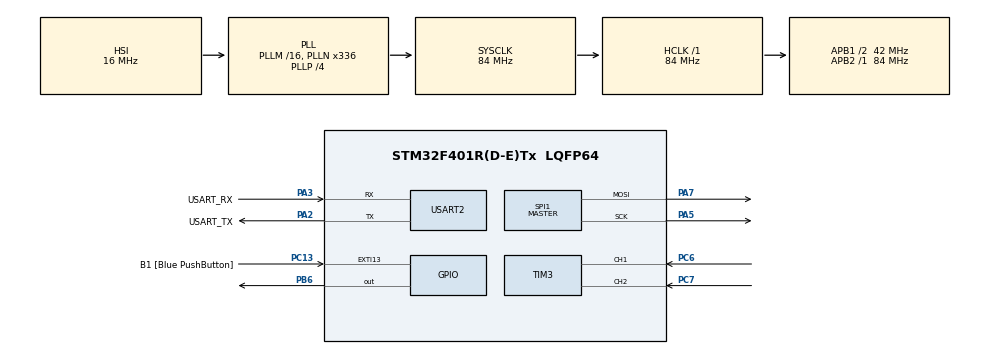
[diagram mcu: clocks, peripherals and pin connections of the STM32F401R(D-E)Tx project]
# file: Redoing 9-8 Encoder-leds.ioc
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Dma.Request0=SPI1_TX
Dma.SPI1_TX.0.Direction=DMA_MEMORY_TO_PERIPH
Dma.SPI1_TX.0.FIFOMode=DMA_FIFOMODE_DISABLE
Dma.SPI1_TX.0.Instance=DMA2_Stream3
Dma.SPI1_TX.0.MemDataAlignment=DMA_MDATAALIGN_BYTE
Dma.SPI1_TX.0.MemInc=DMA_MINC_ENABLE
Dma.SPI1_TX.0.Mode=DMA_NORMAL
Dma.SPI1_TX.0.PeriphDataAlignment=DMA_PDATAALIGN_BYTE
Dma.SPI1_TX.0.PeriphInc=DMA_PINC_DISABLE
Dma.SPI1_TX.0.Priority=DMA_PRIORITY_LOW
Mcu.Family=STM32F4
Mcu.Name=STM32F401R(D-E)Tx
Mcu.Package=LQFP64
NVIC.DMA2_Stream3_IRQn=true\:0\:0\:false\:false\:true\:false\:true\:true
NVIC.PriorityGroup=NVIC_PRIORITYGROUP_0
NVIC.SPI1_IRQn=true\:0\:0\:false\:false\:true\:true\:true\:true
NVIC.TIM1_UP_TIM10_IRQn=true\:0\:0\:false\:false\:true\:true\:true\:true
NVIC.TIM2_IRQn=true\:0\:0\:false\:false\:true\:true\:true\:true
NVIC.TIM3_IRQn=true\:0\:0\:false\:false\:true\:true\:true\:true
PA13.GPIO_Label=TMS
PA13.Mode=Serial_Wire
PA13.Signal=SYS_JTMS-SWDIO
PA14.GPIO_Label=TCK
PA14.Mode=Serial_Wire
PA14.Signal=SYS_JTCK-SWCLK
PA2.GPIO_Label=USART_TX
PA2.GPIO_Mode=GPIO_MODE_AF_PP
PA2.GPIO_PuPd=GPIO_NOPULL
PA2.GPIO_Speed=GPIO_SPEED_FREQ_LOW
PA2.Mode=Asynchronous
PA2.Signal=USART2_TX
PA3.GPIO_Label=USART_RX
PA3.GPIO_Mode=GPIO_MODE_AF_PP
PA3.GPIO_PuPd=GPIO_NOPULL
PA3.GPIO_Speed=GPIO_SPEED_FREQ_LOW
PA3.Mode=Asynchronous
PA3.Signal=USART2_RX
PA5.Mode=TX_Only_Simplex_Unidirect_Master
PA5.Signal=SPI1_SCK
PA7.Mode=TX_Only_Simplex_Unidirect_Master
PA7.Signal=SPI1_MOSI
PB3.GPIO_Label=SWO
PB3.Signal=SYS_JTDO-SWO
PB6.Signal=GPIO_Output
PC13-ANTI_TAMP.GPIO_Label=B1 [Blue PushButton]
PC13-ANTI_TAMP.GPIO_ModeDefaultEXTI=GPIO_MODE_IT_FALLING
PC13-ANTI_TAMP.GPIO_PuPd=GPIO_NOPULL
PC13-ANTI_TAMP.Signal=GPXTI13
PC14-OSC32_IN.Mode=LSE-External-Oscillator
PC14-OSC32_IN.Signal=RCC_OSC32_IN
PC15-OSC32_OUT.Mode=LSE-External-Oscillator
PC15-OSC32_OUT.Signal=RCC_OSC32_OUT
PC6.Signal=S_TIM3_CH1
PC7.Signal=S_TIM3_CH2
PH0\ -\ OSC_IN.Mode=HSE-External-Clock-Source
PH0\ -\ OSC_IN.Signal=RCC_OSC_IN
PH1\ -\ OSC_OUT.Mode=HSE-External-Clock-Source
PH1\ -\ OSC_OUT.Signal=RCC_OSC_OUT
ProjectManager.HeapSize=0x200
ProjectManager.StackSize=0x400
ProjectManager.TargetToolchain=STM32CubeIDE
RCC.48MHZClocksFreq_Value=48000000
RCC.AHBFreq_Value=84000000
RCC.APB1CLKDivider=RCC_HCLK_DIV2
RCC.APB1Freq_Value=42000000
RCC.APB1TimFreq_Value=84000000
RCC.APB2Freq_Value=84000000
RCC.APB2TimFreq_Value=84000000
RCC.CortexFreq_Value=84000000
RCC.HCLKFreq_Value=84000000
RCC.HSE_VALUE=8000000
RCC.HSI_VALUE=16000000
RCC.PLLN=336
RCC.PLLP=RCC_PLLP_DIV4
RCC.PLLQ=7
RCC.SYSCLKFreq_VALUE=84000000
RCC.SYSCLKSource=RCC_SYSCLKSOURCE_PLLCLK
RCC.VCOOutputFreq_Value=336000000
SH.S_TIM3_CH1.0=TIM3_CH1,Encoder_Interface
SH.S_TIM3_CH2.0=TIM3_CH2,Encoder_Interface
SPI1.BaudRatePrescaler=SPI_BAUDRATEPRESCALER_4
SPI1.Direction=SPI_DIRECTION_2LINES
SPI1.Mode=SPI_MODE_MASTER
SPI1.VirtualType=VM_MASTER
TIM10.Period=50-1
TIM10.Prescaler=8400-1
TIM2.Period=5000-1
TIM2.Prescaler=8400-1
TIM3.EncoderMode=TIM_ENCODERMODE_TI12
TIM3.IC1Filter=15
TIM3.IC2Filter=15
TIM3.IC2Polarity=TIM_ICPOLARITY_RISING
USART2.VirtualMode=VM_ASYNC
VP_TIM10_VS_ClockSourceINT.Mode=Enable_Timer
VP_TIM2_VS_ClockSourceINT.Mode=Internal
board=NUCLEO-F401RE

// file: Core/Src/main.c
/* USER CODE BEGIN Header */
/**
  ******************************************************************************
  * @file           : main.c
  * @brief          : Main program body
  ******************************************************************************
  * @attention
  *
  * Copyright (c) 2024 STMicroelectronics.
  * All rights reserved.
  *
  * This software is licensed under terms that can be found in the LICENSE file
  * in the root directory of this software component.
  * If no LICENSE file comes with this software, it is provided AS-IS.
  *
  ******************************************************************************
  */
/* USER CODE END Header */
#include "main.h"

/* USER CODE BEGIN Includes */
#include <math.h>
#include <stdio.h>
#include <string.h>
/* USER CODE END Includes */

/* USER CODE BEGIN PD */
char aux_str[1024];
#define PRINT(s,...) \
		snprintf(aux_str, 1020, s, ##__VA_ARGS__ ); \
		HAL_UART_Transmit(&huart2, (uint8_t*)aux_str, strlen(aux_str), 100);

/* USER CODE END PD */

SPI_HandleTypeDef hspi1;
DMA_HandleTypeDef hdma_spi1_tx;

TIM_HandleTypeDef htim2;
TIM_HandleTypeDef htim3;
TIM_HandleTypeDef htim10;

UART_HandleTypeDef huart2;

void SystemClock_Config(void);
static void MX_GPIO_Init(void);
static void MX_DMA_Init(void);
static void MX_USART2_UART_Init(void);
static void MX_TIM3_Init(void);
static void MX_SPI1_Init(void);
static void MX_TIM2_Init(void);
static void MX_TIM10_Init(void);

/* USER CODE BEGIN 0 */
uint8_t led_mat[5][2] = {
		{0,16},
		{0,8},
		{0,4},
		{0,2},
		{0,1},
};

void HAL_TIM_PeriodElapsedCallback(TIM_HandleTypeDef *htim){
	if(htim == &htim2){
		static int pos = 0;
		int16_t val = __HAL_TIM_GET_COUNTER(&htim3);
		if(val%48 == 0 && val != 0){__HAL_TIM_SET_COUNTER(&htim3,0);}
	    PRINT("Readed %.3f\r\n", (float)(val%48)/48*360.0);

	    val = val>=0? val:-val;
	    led_mat[pos][0] = pow(2, round((float)(val%48)/48*7));
	    pos = (pos + 1)%5;
	    //set current index values to the readed value scaled
	}else if(htim == &htim10){
		static int col = 0;
		HAL_SPI_Transmit_DMA(&hspi1, led_mat[col], 2);
		col = (col+1)%5;
	}
}

void HAL_SPI_TxCpltCallback (SPI_HandleTypeDef * hspi){
	HAL_GPIO_TogglePin(GPIOB, GPIO_PIN_6);
	HAL_GPIO_TogglePin(GPIOB, GPIO_PIN_6);
}

/* USER CODE END 0 */

int main(void)
{

  /* MCU Configuration--------------------------------------------------------*/

  /* Reset of all peripherals, Initializes the Flash interface and the Systick. */
  HAL_Init();

  /* Configure the system clock */
  SystemClock_Config();

  /* Initialize all configured peripherals */
  MX_GPIO_Init();
  MX_DMA_Init();
  MX_USART2_UART_Init();
  MX_TIM3_Init();
  MX_SPI1_Init();
  MX_TIM2_Init();
  MX_TIM10_Init();
  /* USER CODE BEGIN 2 */
  HAL_TIM_Encoder_Start_IT(&htim3, TIM_CHANNEL_ALL);
  HAL_TIM_Base_Start_IT(&htim2);
  HAL_TIM_Base_Start_IT(&htim10);
  /* USER CODE END 2 */

  /* Infinite loop */
  while (1){

  }
}

void SystemClock_Config(void)
{
  RCC_OscInitTypeDef RCC_OscInitStruct = {0};
  RCC_ClkInitTypeDef RCC_ClkInitStruct = {0};

  /** Configure the main internal regulator output voltage
  */
  __HAL_RCC_PWR_CLK_ENABLE();
  __HAL_PWR_VOLTAGESCALING_CONFIG(PWR_REGULATOR_VOLTAGE_SCALE2);

  /** Initializes the RCC Oscillators according to the specified parameters
  * in the RCC_OscInitTypeDef structure.
  */
  RCC_OscInitStruct.OscillatorType = RCC_OSCILLATORTYPE_HSI;
  RCC_OscInitStruct.HSIState = RCC_HSI_ON;
  RCC_OscInitStruct.HSICalibrationValue = RCC_HSICALIBRATION_DEFAULT;
  RCC_OscInitStruct.PLL.PLLState = RCC_PLL_ON;
  RCC_OscInitStruct.PLL.PLLSource = RCC_PLLSOURCE_HSI;
  RCC_OscInitStruct.PLL.PLLM = 16;
  RCC_OscInitStruct.PLL.PLLN = 336;
  RCC_OscInitStruct.PLL.PLLP = RCC_PLLP_DIV4;
  RCC_OscInitStruct.PLL.PLLQ = 7;
  if (HAL_RCC_OscConfig(&RCC_OscInitStruct) != HAL_OK)
  {
    Error_Handler();
  }

  /** Initializes the CPU, AHB and APB buses clocks
  */
  RCC_ClkInitStruct.ClockType = RCC_CLOCKTYPE_HCLK|RCC_CLOCKTYPE_SYSCLK
                              |RCC_CLOCKTYPE_PCLK1|RCC_CLOCKTYPE_PCLK2;
  RCC_ClkInitStruct.SYSCLKSource = RCC_SYSCLKSOURCE_PLLCLK;
  RCC_ClkInitStruct.AHBCLKDivider = RCC_SYSCLK_DIV1;
  RCC_ClkInitStruct.APB1CLKDivider = RCC_HCLK_DIV2;
  RCC_ClkInitStruct.APB2CLKDivider = RCC_HCLK_DIV1;

  if (HAL_RCC_ClockConfig(&RCC_ClkInitStruct, FLASH_LATENCY_2) != HAL_OK)
  {
    Error_Handler();
  }
}

static void MX_SPI1_Init(void)
{

  /* SPI1 parameter configuration*/
  hspi1.Instance = SPI1;
  hspi1.Init.Mode = SPI_MODE_MASTER;
  hspi1.Init.Direction = SPI_DIRECTION_2LINES;
  hspi1.Init.DataSize = SPI_DATASIZE_8BIT;
  hspi1.Init.CLKPolarity = SPI_POLARITY_LOW;
  hspi1.Init.CLKPhase = SPI_PHASE_1EDGE;
  hspi1.Init.NSS = SPI_NSS_SOFT;
  hspi1.Init.BaudRatePrescaler = SPI_BAUDRATEPRESCALER_4;
  hspi1.Init.FirstBit = SPI_FIRSTBIT_MSB;
  hspi1.Init.TIMode = SPI_TIMODE_DISABLE;
  hspi1.Init.CRCCalculation = SPI_CRCCALCULATION_DISABLE;
  hspi1.Init.CRCPolynomial = 10;
  if (HAL_SPI_Init(&hspi1) != HAL_OK)
  {
    Error_Handler();
  }

}

static void MX_TIM2_Init(void)
{

  TIM_ClockConfigTypeDef sClockSourceConfig = {0};
  TIM_MasterConfigTypeDef sMasterConfig = {0};

  htim2.Instance = TIM2;
  htim2.Init.Prescaler = 8400-1;
  htim2.Init.CounterMode = TIM_COUNTERMODE_UP;
  htim2.Init.Period = 5000-1;
  htim2.Init.ClockDivision = TIM_CLOCKDIVISION_DIV1;
  htim2.Init.AutoReloadPreload = TIM_AUTORELOAD_PRELOAD_DISABLE;
  if (HAL_TIM_Base_Init(&htim2) != HAL_OK)
  {
    Error_Handler();
  }
  sClockSourceConfig.ClockSource = TIM_CLOCKSOURCE_INTERNAL;
  if (HAL_TIM_ConfigClockSource(&htim2, &sClockSourceConfig) != HAL_OK)
  {
    Error_Handler();
  }
  sMasterConfig.MasterOutputTrigger = TIM_TRGO_RESET;
  sMasterConfig.MasterSlaveMode = TIM_MASTERSLAVEMODE_DISABLE;
  if (HAL_TIMEx_MasterConfigSynchronization(&htim2, &sMasterConfig) != HAL_OK)
  {
    Error_Handler();
  }

}

static void MX_TIM3_Init(void)
{

  TIM_Encoder_InitTypeDef sConfig = {0};
  TIM_MasterConfigTypeDef sMasterConfig = {0};

  htim3.Instance = TIM3;
  htim3.Init.Prescaler = 0;
  htim3.Init.CounterMode = TIM_COUNTERMODE_UP;
  htim3.Init.Period = 65535;
  htim3.Init.ClockDivision = TIM_CLOCKDIVISION_DIV1;
  htim3.Init.AutoReloadPreload = TIM_AUTORELOAD_PRELOAD_DISABLE;
  sConfig.EncoderMode = TIM_ENCODERMODE_TI12;
  sConfig.IC1Polarity = TIM_ICPOLARITY_RISING;
  sConfig.IC1Selection = TIM_ICSELECTION_DIRECTTI;
  sConfig.IC1Prescaler = TIM_ICPSC_DIV1;
  sConfig.IC1Filter = 15;
  sConfig.IC2Polarity = TIM_ICPOLARITY_RISING;
  sConfig.IC2Selection = TIM_ICSELECTION_DIRECTTI;
  sConfig.IC2Prescaler = TIM_ICPSC_DIV1;
  sConfig.IC2Filter = 15;
  if (HAL_TIM_Encoder_Init(&htim3, &sConfig) != HAL_OK)
  {
    Error_Handler();
  }
  sMasterConfig.MasterOutputTrigger = TIM_TRGO_RESET;
  sMasterConfig.MasterSlaveMode = TIM_MASTERSLAVEMODE_DISABLE;
  if (HAL_TIMEx_MasterConfigSynchronization(&htim3, &sMasterConfig) != HAL_OK)
  {
    Error_Handler();
  }

}

static void MX_TIM10_Init(void)
{

  htim10.Instance = TIM10;
  htim10.Init.Prescaler = 8400-1;
  htim10.Init.CounterMode = TIM_COUNTERMODE_UP;
  htim10.Init.Period = 50-1;
  htim10.Init.ClockDivision = TIM_CLOCKDIVISION_DIV1;
  htim10.Init.AutoReloadPreload = TIM_AUTORELOAD_PRELOAD_DISABLE;
  if (HAL_TIM_Base_Init(&htim10) != HAL_OK)
  {
    Error_Handler();
  }

}

static void MX_USART2_UART_Init(void)
{

  huart2.Instance = USART2;
  huart2.Init.BaudRate = 115200;
  huart2.Init.WordLength = UART_WORDLENGTH_8B;
  huart2.Init.StopBits = UART_STOPBITS_1;
  huart2.Init.Parity = UART_PARITY_NONE;
  huart2.Init.Mode = UART_MODE_TX_RX;
  huart2.Init.HwFlowCtl = UART_HWCONTROL_NONE;
  huart2.Init.OverSampling = UART_OVERSAMPLING_16;
  if (HAL_UART_Init(&huart2) != HAL_OK)
  {
    Error_Handler();
  }

}

static void MX_DMA_Init(void)
{

  /* DMA controller clock enable */
  __HAL_RCC_DMA2_CLK_ENABLE();

  /* DMA interrupt init */
  /* DMA2_Stream3_IRQn interrupt configuration */
  HAL_NVIC_SetPriority(DMA2_Stream3_IRQn, 0, 0);
  HAL_NVIC_EnableIRQ(DMA2_Stream3_IRQn);

}

static void MX_GPIO_Init(void)
{
  GPIO_InitTypeDef GPIO_InitStruct = {0};

  /* GPIO Ports Clock Enable */
  __HAL_RCC_GPIOC_CLK_ENABLE();
  __HAL_RCC_GPIOH_CLK_ENABLE();
  __HAL_RCC_GPIOA_CLK_ENABLE();
  __HAL_RCC_GPIOB_CLK_ENABLE();

  /*Configure GPIO pin Output Level */
  HAL_GPIO_WritePin(GPIOB, GPIO_PIN_6, GPIO_PIN_RESET);

  /*Configure GPIO pin : B1_Pin */
  GPIO_InitStruct.Pin = B1_Pin;
  GPIO_InitStruct.Mode = GPIO_MODE_IT_FALLING;
  GPIO_InitStruct.Pull = GPIO_NOPULL;
  HAL_GPIO_Init(B1_GPIO_Port, &GPIO_InitStruct);

  /*Configure GPIO pin : PB6 */
  GPIO_InitStruct.Pin = GPIO_PIN_6;
  GPIO_InitStruct.Mode = GPIO_MODE_OUTPUT_PP;
  GPIO_InitStruct.Pull = GPIO_NOPULL;
  GPIO_InitStruct.Speed = GPIO_SPEED_FREQ_LOW;
  HAL_GPIO_Init(GPIOB, &GPIO_InitStruct);

}

void Error_Handler(void)
{
  __disable_irq();
  while (1)
  {
  }
}
